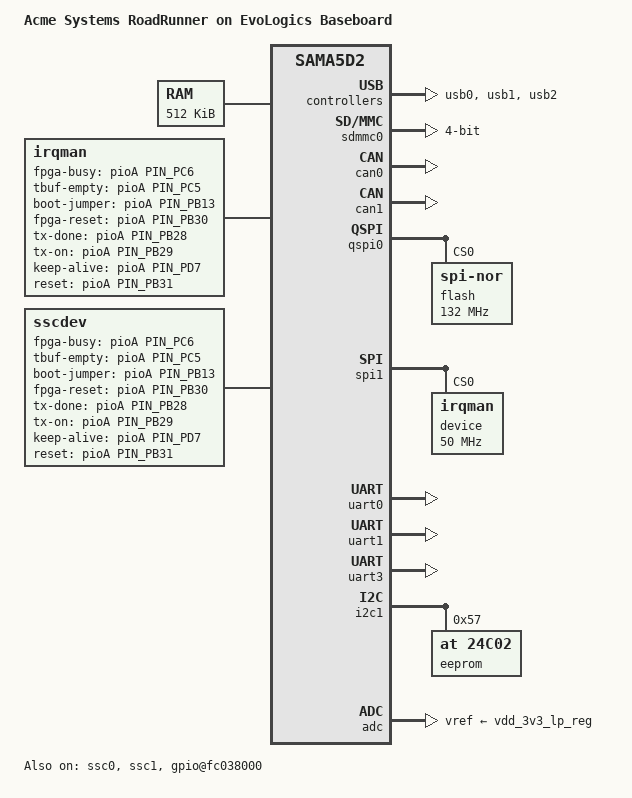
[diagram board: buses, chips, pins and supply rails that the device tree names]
/*
 * acme-roadrunner-evo-tiny.dts - DTS include for the roadrunner-evo tiny board
 *
 *  Copyright (C) 2015 Atmel,
 *                2015 Nicolas Ferre <nicolas.ferre@atmel.com>
 *                2017 Sergio Tanzilli <tanzilli@acmesystems.it>
 *
 * This file is dual-licensed: you can use it either under the terms
 * of the GPL or the X11 license, at your option. Note that this dual
 * licensing only applies to this file, and not this project as a
 * whole.
 *
 *  a) This file is free software; you can redistribute it and/or
 *     modify it under the terms of the GNU General Public License as
 *     published by the Free Software Foundation; either version 2 of the
 *     License, or (at your option) any later version.
 *
 *     This file is distributed in the hope that it will be useful,
 *     but WITHOUT ANY WARRANTY; without even the implied warranty of
 *     MERCHANTABILITY or FITNESS FOR A PARTICULAR PURPOSE.  See the
 *     GNU General Public License for more details.
 *
 * Or, alternatively,
 *
 *  b) Permission is hereby granted, free of charge, to any person
 *     obtaining a copy of this software and associated documentation
 *     files (the "Software"), to deal in the Software without
 *     restriction, including without limitation the rights to use,
 *     copy, modify, merge, publish, distribute, sublicense, and/or
 *     sell copies of the Software, and to permit persons to whom the
 *     Software is furnished to do so, subject to the following
 *     conditions:
 *
 *     The above copyright notice and this permission notice shall be
 *     included in all copies or substantial portions of the Software.
 *
 *     THE SOFTWARE IS PROVIDED "AS IS", WITHOUT WARRANTY OF ANY KIND,
 *     EXPRESS OR IMPLIED, INCLUDING BUT NOT LIMITED TO THE WARRANTIES
 *     OF MERCHANTABILITY, FITNESS FOR A PARTICULAR PURPOSE AND
 *     NONINFRINGEMENT. IN NO EVENT SHALL THE AUTHORS OR COPYRIGHT
 *     HOLDERS BE LIABLE FOR ANY CLAIM, DAMAGES OR OTHER LIABILITY,
 *     WHETHER IN AN ACTION OF CONTRACT, TORT OR OTHERWISE, ARISING
 *     FROM, OUT OF OR IN CONNECTION WITH THE SOFTWARE OR THE USE OR
 *     OTHER DEALINGS IN THE SOFTWARE.
 */
/dts-v1/;

#include "sama5d2.dtsi"
#include "sama5d2-pinfunc.h"
#include <dt-bindings/dma/at91.h>
#include <dt-bindings/pinctrl/at91.h>
#include <dt-bindings/interrupt-controller/irq.h>
#include <dt-bindings/mfd/atmel-flexcom.h>
#include <dt-bindings/gpio/gpio.h>

/ {
	model = "Acme Systems RoadRunner on EvoLogics Baseboard";
	compatible = "atmel,sama5d2-evo", "atmel,sama5d2", "atmel,sama5";
	serial# = "000/00";

	aliases {
		ssc0 = &ssc0;
		ssc1 = &ssc1;
		serial0 = &uart1; /* console */
		serial1 = &uart0; /* data */
		serial2 = &uart2; /* sensor2/xsense */
		serial3 = &uart3; /* sensor/pressure */
		serial4 = &uart4; /* sensor3 */
		serial5 = &uart5; /* rs485 for tiny */
	};

	chosen {
		stdout-path = "serial0:115200n8";
		bootargs = "mem=256M console=ttyS0,115200 rng_core.default_quality=1000 ubi.mtd=rootfs root=ubi0:sama5d2-roadrunner-evo-rootfs rootfstype=ubifs quiet ro";
	};

	memory {
		reg = <0x20000000 0x80000>;
	};

	clocks {
		slow_xtal {
			clock-frequency = <32768>;
		};

		main_xtal {
			clock-frequency = <12000000>;
		};
	};

	pps0 {
		 compatible = "pps-gpio";
		 pinctrl-names = "default";
		 pinctrl-0 = <&pinctrl_pps0>;

		 gpios = <&pioA PIN_PC24 GPIO_ACTIVE_HIGH>;
		 //assert-falling-edge;
		 status = "disabled";
	};

	pps1 {
		 compatible = "pps-gpio";
		 pinctrl-names = "default";
		 pinctrl-0 = <&pinctrl_pps1>;

		 gpios = <&pioA PIN_PC23 GPIO_ACTIVE_HIGH>;
		 //assert-falling-edge;
		 status = "disable";
	};

	ahb {
		usb0: gadget@300000 {
			pinctrl-names = "default";
			pinctrl-0 = <&pinctrl_usba_vbus>;
			status = "okay";
		};

		usb1: ohci@400000 {
			num-ports = <3>;
			pinctrl-names = "default";
			pinctrl-0 = <&pinctrl_usb_default>;
			status = "okay";
		};

		usb2: ehci@500000 {
			status = "okay";
		};

		sdmmc0: sdio-host@a0000000 {
			bus-width = <4>;
			pinctrl-names = "default";
			pinctrl-0 = <&pinctrl_sdmmc0_default>;
			broken-cd;
			no-1-8-v;
			disable-wp;
			status = "okay";
		};

		apb {
            can0: can@f8054000 {
                pinctrl-names = "default";
                pinctrl-0 = <&pinctrl_can0_default>;
                status = "okay";
            };
            can1: can@fc050000 {
                pinctrl-names = "default";
                pinctrl-0 = <&pinctrl_can1_default>;
                status = "okay";
            };
			qspi0: spi@f0020000 {
				pinctrl-names = "default";
				pinctrl-0 = <&pinctrl_qspi0_default>;
				status = "okay";

				flash@0 {
					#address-cells = <1>;
					#size-cells = <1>;
					//compatible = "micron,n25q128a13", "jedec,spi-nor";
					compatible = "jedec,spi-nor";
					reg = <0>;
					spi-max-frequency = <132000000>;
					m25p,fast-read;

					at91bootstrap@00000000 {
						label = "at91bootstrap";
						reg = <0x00000000 0x00010000>;
					};

					dtb@00010000 {
						label = "dtb";
						reg = <0x00010000 0x00010000>;
					};

					kernel@00040000 {
						label = "kernel";
						reg = <0x00020000 0x00400000>;
					};

					rootfs@00420000 {
						label = "rootfs";
						//reg = <0x00420000 0x000be0000>; // 16 MiB
						//reg = <0x00420000 0x001df0000>; // 32 MiB
						//reg = <0x00420000 0x003be0000>; // 64 MiB
						reg = <0x00420000 0x007be0000>; // 128 MiB
						//reg = <0x00420000 0x000000000>;
					};

					rest@08000000 {
						label = "rest";
						//reg = <0x00420000 0x00000000>;
						//reg = <0x01000000 0x00000000>; // rest for rootfs 16 MiB
						//reg = <0x02210000 0x00000000>;   // rest for rootfs 32 MiB
						//reg = <0x08000000 0x00000000>; // rest for rootfs 128 MiB (?)
					};
				};
			};

			spi1: spi@fc000000 {
				pinctrl-names = "default";
				pinctrl-0 = <&pinctrl_spi1_default>;
				status = "okay";
				device@0 {
					compatible = "irqman";
					spi-max-frequency = <50000000>;	 // 50 MHz
					reg = <0>;
				};
			};

			ssc0: ssc@f8004000 {
				compatible = "atmel,at91sam9g45-ssc";
				reg = <0xf8004000 0x4000>;
				interrupts = <43 IRQ_TYPE_LEVEL_HIGH 4>;
				dmas = <&dma0
					(AT91_XDMAC_DT_MEM_IF(0) | AT91_XDMAC_DT_PER_IF(1) |
					AT91_XDMAC_DT_PERID(21))>,
					   <&dma0
					(AT91_XDMAC_DT_MEM_IF(0) | AT91_XDMAC_DT_PER_IF(1) |
					AT91_XDMAC_DT_PERID(22))>;
				dma-names = "tx", "rx";
				pinctrl-names = "default";
				pinctrl-0 = <&pinctrl_ssc0_tx &pinctrl_ssc0_rx>;
				clocks = <&ssc0_clk>;
				clock-names = "pclk";
				status = "okay";
			};

			ssc1: ssc@fc004000 {
				compatible = "atmel,at91sam9g45-ssc";
				reg = <0xfc004000 0x4000>;
				interrupts = <44 IRQ_TYPE_LEVEL_HIGH 4>;
				dmas = <&dma0
					(AT91_XDMAC_DT_MEM_IF(0) | AT91_XDMAC_DT_PER_IF(1) |
					AT91_XDMAC_DT_PERID(23))>,
					   <&dma0
					(AT91_XDMAC_DT_MEM_IF(0) | AT91_XDMAC_DT_PER_IF(1) |
					AT91_XDMAC_DT_PERID(24))>;
				dma-names = "tx", "rx";
				pinctrl-names = "default";
				pinctrl-0 = <&pinctrl_ssc1_tx &pinctrl_ssc1_rx>;
				clocks = <&ssc1_clk>;
				clock-names = "pclk";
				status = "okay";
			};

			macb0: ethernet@f8008000 {
				phy-mode = "rmii";
				status = "disabled";
				ethernet-phy@1 {
					reg = <0x0>;
				};
			};

			/* Debug port */

			uart0: serial@f801c000 {
				pinctrl-names = "default";
				pinctrl-0 = <&pinctrl_uart0_default>;
				status = "okay";
				atmel,use-dma-tx;
				atmel,use-dma-rx;
			};

			uart1: serial@f8020000 {
				pinctrl-names = "default";
				pinctrl-0 = <&pinctrl_uart1_default>;
				status = "okay";
				atmel,use-dma-tx;
				atmel,use-dma-rx;
			};

			i2c0: i2c@f8028000 {
				dmas = <0>, <0>;
				pinctrl-names = "default";
				pinctrl-0 = <&pinctrl_i2c0_default>;
				i2c-sda-hold-time-ns = <350>;
				status = "disabled";
			};

			flx0: flexcom@f8034000 {
				atmel,flexcom-mode = <ATMEL_FLEXCOM_MODE_USART>;
				status = "disabled"; /* conflict with ISC_D2 & ISC_D3 data pins */
			};

			shdwc@f8048010 {
				atmel,shdwc-debouncer = <976>;

				input@0 {
					reg = <0>;
					atmel,wakeup-type = "low";
				};
			};

			watchdog@f8048040 {
				status = "okay";
			};

			gpio@fc038000 {
				compatible = "atmel,sama5d2-gpio";
				pinctrl-names = "default";
				pinctrl-0 = <&pinctrl_gpio>;
				status = "okay";
			};

			uart2: serial@f8024000 {
			    atmel,use-dma-tx;
			    atmel,use-dma-rx;
			};

			uart3: serial@fc008000 {
				pinctrl-names = "default";
				pinctrl-0 = <&pinctrl_uart3_default>;
				status = "okay";
				atmel,use-dma-tx;
				atmel,use-dma-rx;
			};

			uart4: serial@fc00c000 {
				atmel,use-dma-tx;
				atmel,use-dma-rx;
			};

			flx4: flexcom@fc018000 {
				atmel,flexcom-mode = <ATMEL_FLEXCOM_MODE_USART>;
				status = "disable";

				uart5: serial@200 {
					#address-cells = <1>;
					#size-cells = <0>;
					compatible = "atmel,at91sam9260-usart";
					reg = <0x200 0x200>;
					interrupts = <23 IRQ_TYPE_LEVEL_HIGH 7>;
					clocks = <&flx4_clk>;
					clock-names = "usart";
					atmel,fifo-size = <32>;
					status = "disable";

					/* for rs485 need to add 'rs485-rx-during-tx' to not freeze application */
					dmas = <&dma0 (AT91_XDMAC_DT_MEM_IF(0) | AT91_XDMAC_DT_PER_IF(1) | AT91_XDMAC_DT_PERID(19))>,
							<&dma0 (AT91_XDMAC_DT_MEM_IF(0) | AT91_XDMAC_DT_PER_IF(1) | AT91_XDMAC_DT_PERID(20))>;
					dma-names = "tx", "rx";
					atmel,use-dma-tx;
					atmel,use-dma-rx;
				};
			};

			i2c1: i2c@fc028000 {
				pinctrl-names = "default";
				pinctrl-0 = <&pinctrl_i2c1_default>;
				status = "okay";

				eeprom@57 {
					compatible = "at,24c02";
					reg = <0x57>;
				};
			};

			adc: adc@fc030000 {
				compatible = "atmel,sama5d2-adc";
				vddana-supply = <&vdd_3v3_lp_reg>;
				vref-supply = <&vdd_3v3_lp_reg>;
				pinctrl-names = "default";
				pinctrl-0 = <&pinctrl_adc_default>;
				status = "okay";

				vdd_3v3_lp_reg: REG_LDO2 {
					regulator-name = "VDD_3V3_LP";
					regulator-min-microvolt = <3300000>;
					regulator-max-microvolt = <3300000>;
					regulator-always-on;
				};
			};

			irqman: irqman {
				compatible = "irqman";

				/* DEPRICATED: for old fw on new system */
				atmel,ssc-controller = <&ssc0>;

				atmel,ssc-controller-dsp = <&ssc0>;
				atmel,ssc-controller-sdm = <&ssc1>;
				io-channels = <&adc 4>;
				io-channel-names = "bat0";

				fpga-busy-gpios   = <&pioA PIN_PC6  GPIO_ACTIVE_HIGH>;
				tbuf-empty-gpios  = <&pioA PIN_PC5  GPIO_ACTIVE_HIGH>;
				boot-jumper-gpios = <&pioA PIN_PB13 GPIO_ACTIVE_HIGH>;

				/* output */
				fpga-reset-gpios = <&pioA PIN_PB30 GPIO_ACTIVE_HIGH>;
				tx-done-gpios    = <&pioA PIN_PB28 GPIO_ACTIVE_HIGH>;
				tx-on-gpios      = <&pioA PIN_PB29 GPIO_ACTIVE_HIGH>;
				keep-alive-gpios = <&pioA PIN_PD7  GPIO_ACTIVE_HIGH>;
				reset-gpios      = <&pioA PIN_PB31 GPIO_ACTIVE_HIGH>;
				power-gpios      = <&pioA PIN_PD8  GPIO_ACTIVE_HIGH>;
				opto0-gpios      = <&pioA PIN_PD6  GPIO_ACTIVE_HIGH>;

				/* sdm */
				/* rx-almost-full-gpios  = <&pioA PIN_P??  GPIO_ACTIVE_HIGH>; */
				/* tx-almost-empty-gpios = <&pioA PIN_P??  GPIO_ACTIVE_HIGH>; */
				rxtx-fifo-inv-gpios = <&pioA PIN_PD27  GPIO_ACTIVE_LOW>; /* Host.IO1 why LOW?! */
				/* tx-almost-full-gpios  = <&pioA PIN_P??  GPIO_ACTIVE_HIGH>; */
				sdm-sync-in-gpios = <&pioA PIN_PC24 GPIO_ACTIVE_HIGH>; /* SYNCIN0, conflict with pps0 */
				/* syncin1-gpios = <&pioA PIN_PC23 GPIO_ACTIVE_HIGH>; */ /* SYNCIN1, conflict with pps1 */

				/* Unique for roadrunner pin, replace IRQ1 for SDM part */
				sdm-tx-request-gpios = <&pioA PIN_PD26  GPIO_ACTIVE_HIGH>; /* Host.IO0 */

				/* eclk */
				lock-gpios      = <&pioA PIN_PB5  GPIO_ACTIVE_HIGH>; /* LOCK(BITE_N) */

				/* IRQs */
				dsp-irq-gpios	= <&pioA PIN_PB3  GPIO_ACTIVE_HIGH>; /* EVO_IRQ0 */
				irq1-gpios	    = <&pioA PIN_PB2  GPIO_ACTIVE_HIGH>; /* EVO_IRQ1 */
				fiq-gpios		= <&pioA PIN_PB4  GPIO_ACTIVE_HIGH>; /* EVO_FIQ  */
			};

            sscdev: sscdev {
                pinctrl-names = "default";
                pinctrl-0 = <&pinctrl_sscdev>;
				compatible = "sscdev";

				fpga-busy-gpios   = <&pioA PIN_PC6  GPIO_ACTIVE_HIGH>;
				tbuf-empty-gpios  = <&pioA PIN_PC5  GPIO_ACTIVE_HIGH>;
				boot-jumper-gpios = <&pioA PIN_PB13 GPIO_ACTIVE_HIGH>;
				/* input0-gpios  = <&pioA PIN_P??  GPIO_ACTIVE_HIGH>; */
				/* input1-gpios  = <&pioA PIN_P??  GPIO_ACTIVE_HIGH>; */

				/* output */
				fpga-reset-gpios = <&pioA PIN_PB30 GPIO_ACTIVE_HIGH>;
				tx-done-gpios    = <&pioA PIN_PB28 GPIO_ACTIVE_HIGH>;
				tx-on-gpios      = <&pioA PIN_PB29 GPIO_ACTIVE_HIGH>;
				keep-alive-gpios = <&pioA PIN_PD7  GPIO_ACTIVE_HIGH>;
				reset-gpios      = <&pioA PIN_PB31 GPIO_ACTIVE_HIGH>;
				power-gpios      = <&pioA PIN_PD8  GPIO_ACTIVE_HIGH>;
				opto0-gpios      = <&pioA PIN_PD6  GPIO_ACTIVE_HIGH>;
				/* opto1-gpios      = <&pioA PIN_P??  GPIO_ACTIVE_HIGH>; */

				/* sdm */
				/* rx-almost-full-gpios  = <&pioA PIN_P??  GPIO_ACTIVE_HIGH>; */
				/* tx-almost-empty-gpios = <&pioA PIN_P??  GPIO_ACTIVE_HIGH>; */
				/* rxtx-fifo-inv-gpios   = <&pioA PIN_P??  GPIO_ACTIVE_HIGH>; */
				/* tx-almost-full-gpios  = <&pioA PIN_P??  GPIO_ACTIVE_HIGH>; */
				sdm-sync-in-gpios = <&pioA PIN_PC24 GPIO_ACTIVE_HIGH>; /* SYNCIN0, conflict with pps0 */
				/* syncin1-gpios = <&pioA PIN_PC23 GPIO_ACTIVE_HIGH>; */ /* SYNCIN1, conflict with pps1 */

				/* eclk */
				lock-gpios      = <&pioA PIN_PB5  GPIO_ACTIVE_HIGH>; /* LOCK(BITE_N) */

				/* IRQs */
				dsp-irq-gpios	= <&pioA PIN_PB3  GPIO_ACTIVE_HIGH>; /* EVO_IRQ0 */
				irq1-gpios	    = <&pioA PIN_PB2  GPIO_ACTIVE_HIGH>; /* EVO_IRQ1 */
				fiq-gpios		= <&pioA PIN_PB4  GPIO_ACTIVE_HIGH>; /* EVO_FIQ  */
            };

			rstc@f8048000 {
				compatible = "atmel,sama5d2-roadrunner-evo-rstc";
				pinctrl-names = "default";
				pinctrl-0 = <&pinctrl_rstc>;
				board-reset-gpios   = <&pioA PIN_PC7 GPIO_ACTIVE_LOW>;
			};

			pinctrl@fc038000 {
				pinctrl_rstc: pinctrl_rstc_default {
					pinmux = <PIN_PC7__GPIO>;
					output-high;
					bias-pull-up;
					drive-open-drain;
				};

				pinctrl_pps0: pps0_default {
					pinmux = <PIN_PC24__GPIO>;
					bias-disable;
				};

				pinctrl_pps1: pps1_default {
					pinmux = <PIN_PC23__GPIO>;
					bias-disable;
				};

				pinctrl_can0_default: can0_default {
					pinmux = <PIN_PC10__CANTX0>,
						 <PIN_PC11__CANRX0>;
					bias-disable;
				};

				pinctrl_can1_default: can1_default {
					pinmux = <PIN_PC26__CANTX1>,
						 <PIN_PC27__CANRX1>;
					bias-disable;
				};

				pinctrl_sscdev: sscdev_default {
					pinmux = <PIN_PD8__GPIO>,  /* power */
							 <PIN_PB31__GPIO>, /* reset */
							 <PIN_PB30__GPIO>, /* fpga reset */
							 <PIN_PB28__GPIO>, /* tx done */

							 <PIN_PB29__GPIO>, /* tx on */
							 <PIN_PD7__GPIO>,  /* keep alive */
							 <PIN_PC6__GPIO>,  /* fpga busy */
							 <PIN_PC5__GPIO>,  /* tbud empty */

							 <PIN_PB3__GPIO>,  /* dsp irq */
							 <PIN_PB2__GPIO>;  /* irq1 */
					bias-pull-up;
				};

				/* Set as GPIO the pins that are not by default */
				pinctrl_gpio: gpio_default {
					pinmux = <PIN_PD4__GPIO>,
							 <PIN_PD5__GPIO>,
							 <PIN_PD21__GPIO>, /* CAN 0 enable */
							 <PIN_PD22__GPIO>, /* CAN 1 enable */
							 <PIN_PD14__GPIO>, /* eth grx1 */
							 <PIN_PD15__GPIO>, /* eth gtx0 */
							 <PIN_PD16__GPIO>, /* eth gtx1 */
							 <PIN_PD17__GPIO>; /* eth gmdc */

					bias-pull-up;
				};
				/*
				 * There is no real pinmux for ADC, if the pin
				 * is not requested by another peripheral then
				 * the muxing is done when channel is enabled.
				 * Requesting pins for ADC is GPIO is
				 * encouraged to prevent conflicts and to
				 * disable bias in order to be in the same
				 * state when the pin is not muxed to the adc.
				 */
				pinctrl_adc_default: adc_default {
					pinmux = <PIN_PD23__GPIO>;
					bias-disable;
				};

				pinctrl_charger_chglev: charger_chglev {
					pinmux = <PIN_PA12__GPIO>;
					bias-disable;
				};

				pinctrl_charger_lbo: charger_lbo {
					pinmux = <PIN_PC8__GPIO>;
					bias-pull-up;
				};

				pinctrl_flx0_default: flx0_default {
					pinmux = <PIN_PB28__FLEXCOM0_IO0>,
						 <PIN_PB29__FLEXCOM0_IO1>;
					bias-disable;
				};

				pinctrl_flx4_default: flx4_default {
					pinmux = <PIN_PC28__FLEXCOM4_IO0>,
                             <PIN_PC29__FLEXCOM4_IO1>,
                             <PIN_PD0__FLEXCOM4_IO4>;
					bias-disable;
				};

				pinctrl_flx4_rts: flx4_rts {
					pinmux = <PIN_PD0__FLEXCOM4_IO4>;
					bias-disable;
				};

				pinctrl_i2c0_default: i2c0_default {
					pinmux = <PIN_PD21__TWD0>,
						 <PIN_PD22__TWCK0>;
					bias-disable;
				};

				pinctrl_i2c1_default: i2c1_default {
					pinmux = <PIN_PD19__TWD1>,
						 <PIN_PD20__TWCK1>;
					bias-disable;
				};

				pinctrl_pdmic_default: pdmic_default {
					pinmux = <PIN_PB26__PDMIC_DAT>,
						<PIN_PB27__PDMIC_CLK>;
					bias-disable;
				};

				pinctrl_sdmmc0_default: sdmmc0_default {
					cmd_data {
						pinmux = <PIN_PA1__SDMMC0_CMD>,
							 <PIN_PA2__SDMMC0_DAT0>,
							 <PIN_PA3__SDMMC0_DAT1>,
							 <PIN_PA4__SDMMC0_DAT2>,
							 <PIN_PA5__SDMMC0_DAT3>;
						bias-pull-up;
					};

					conf-ck {
						pinmux = <PIN_PA0__SDMMC0_CK>;
						/* drive-strength = <2>; */
						bias-disable;
					};

					/* The cd line is used on microSD socket */
					conf-cd {
						pinmux = <PIN_PA13__SDMMC0_CD>;
						bias-pull-down;
					};
				};

				pinctrl_qspi0_default: qspi0_default {
					sck_cs {
						pinmux = <PIN_PA22__QSPI0_SCK>,
							 <PIN_PA23__QSPI0_CS>;
						bias-disable;
					};

					data {
						pinmux = <PIN_PA24__QSPI0_IO0>,
							 <PIN_PA25__QSPI0_IO1>,
							 <PIN_PA26__QSPI0_IO2>,
							 <PIN_PA27__QSPI0_IO3>;
						bias-pull-up;
					};
				};


				pinctrl_spi0_default: spi0_default {
					pinmux = <PIN_PA14__SPI0_SPCK>,
						 <PIN_PA15__SPI0_MOSI>,
						 <PIN_PA16__SPI0_MISO>,
						 <PIN_PA17__SPI0_NPCS0>;
					bias-disable;
				};

				pinctrl_spi1_default: spi1_default {
					pinmux = <PIN_PC1__SPI1_SPCK>,
						 <PIN_PC2__SPI1_MOSI>,
						 <PIN_PC3__SPI1_MISO>,
						 <PIN_PC4__SPI1_NPCS0>;
					bias-disable;
				};

				ssc0 {
					pinctrl_ssc0_tx: ssc0_tx {
						pinmux = <PIN_PB20__TK0>,   /* periph E TK0 */
								 <PIN_PB21__TF0>,   /* periph E TF0 */
								 <PIN_PB22__TD0>;   /* periph E TD0 WTF!!!! */
						bias-pull-up;
						drive-strength = <2>;
					};

					pinctrl_ssc0_rx: ssc0_rx {
						pinmux = <PIN_PB24__RK0>,   /* periph E RK0 */
								 <PIN_PB25__RF0>,   /* periph E RF0 */
								 <PIN_PB23__RD0>;	/* periph E RD0 */
						bias-pull-up;
						input-schmitt-enable;
					};
				};

				ssc1 {
					pinctrl_ssc1_tx: ssc1_tx {
						pinmux = <PIN_PB14__TK1>,   /* PC12 periph E TK1 */
								 <PIN_PB15__TF1>,   /* PC13 periph E TF1 */
								 <PIN_PB16__TD1>;   /* PC14 periph E TD1 */
						bias-pull-up;
						drive-strength = <2>;
					};

					pinctrl_ssc1_rx: ssc1_rx {
						pinmux = <PIN_PB18__RK1>,   /* periph E RK1 */
								 <PIN_PB19__RF1>,   /* periph E RF1 */
								 <PIN_PB17__RD1>;	/* periph E RD1 */
						bias-pull-up;
						input-schmitt-enable;
					};
				};

				pinctrl_uart0_default: uart0_default {
					pinmux = <PIN_PB26__URXD0>,
							 <PIN_PB27__UTXD0>;
					bias-disable;
				};

				pinctrl_uart1_default: uart1_default {
					pinmux = <PIN_PD2__URXD1>,
						 <PIN_PD3__UTXD1>;
					bias-disable;
				};

				pinctrl_uart3_default: uart3_default {
					pinmux = <PIN_PB11__URXD3>,
						 <PIN_PB12__UTXD3>;
					bias-disable;
				};

				pinctrl_usb_default: usb_default {
					pinmux = <PIN_PB10__GPIO>;
					bias-disable;
				};

				pinctrl_usba_vbus: usba_vbus {
					pinmux = <PIN_PA31__GPIO>;
					bias-disable;
				};

			};
		};
	};
};
